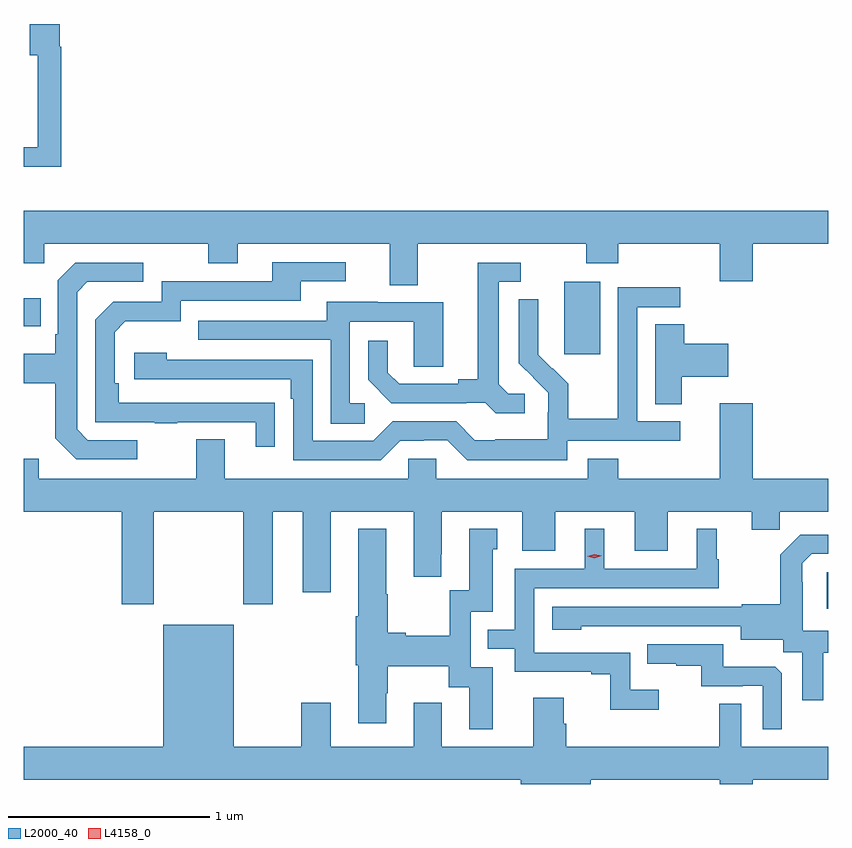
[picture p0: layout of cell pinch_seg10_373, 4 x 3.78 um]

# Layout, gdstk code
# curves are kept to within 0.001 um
import gdstk
lib = gdstk.Library(unit=1e-6, precision=1e-09)
def R(c, l, rs):  # rectangles x0, y0, x1, y1
    for r in rs: c.add(gdstk.rectangle(r[:2], r[2:], *l))
def P(c, l, *ps):  # polygons
    for p in ps: c.add(gdstk.Polygon(p, *l))
L2000_40 = (2000, 40)
L4158_0 = (4158, 0)

pinch_seg10_373 = lib.new_cell('pinch_seg10_373')
R(pinch_seg10_373, L2000_40, [(621.083,1273.194,621.092,1273.374), (619.778,1274.457,619.957,1274.818), (617.092,1274.597,617.177,1274.737)])
P(pinch_seg10_373, L2000_40, [(617.279,1275.986),(617.272,1275.986),(617.272,1276.099),(617.123,1276.099),(617.123,1275.943),(617.163,1275.943),(617.163,1275.486),(617.092,1275.486),(617.092,1275.389),(617.279,1275.389)],
  [(619.051,1275.008),(619.888,1275.008),(619.888,1274.909),(620.048,1274.909),(620.048,1275.008),(620.552,1275.008),(620.552,1274.82),(620.716,1274.82),(620.716,1275.008),(621.092,1275.008),(621.092,1275.172),(617.092,1275.172),(617.092,1274.909),(617.196,1274.909),(617.196,1275.008),(618.01,1275.008),(618.01,1274.909),(618.157,1274.909),(618.157,1275.008),(618.911,1275.008),(618.911,1274.8),(619.051,1274.8)],
  [(618.341,1274.216),(617.564,1274.217),(617.564,1274.314),(617.544,1274.314),(617.544,1274.568),(617.597,1274.621),(617.874,1274.621),(617.874,1274.724),(618.469,1274.724),(618.469,1274.82),(618.694,1274.82),(618.694,1274.916),(618.329,1274.916),(618.329,1274.82),(617.778,1274.82),(617.778,1274.718),(617.538,1274.718),(617.448,1274.628),(617.448,1274.121),(617.743,1274.121),(617.743,1274.116),(617.855,1274.116),(617.855,1274.121),(618.245,1274.121),(618.245,1273.998),(618.341,1273.998)],
  [(619.582,1274.262),(619.5,1274.262),(619.453,1274.309),(619.453,1274.817),(619.564,1274.817),(619.564,1274.913),(619.349,1274.913),(619.349,1274.333),(619.253,1274.333),(619.253,1274.31),(618.958,1274.31),(618.901,1274.367),(618.901,1274.524),(618.804,1274.524),(618.804,1274.33),(618.92,1274.214),(619.292,1274.214),(619.292,1274.217),(619.386,1274.217),(619.438,1274.165),(619.582,1274.165)],
  [(617.656,1274.031),(617.412,1274.031),(617.358,1274.085),(617.358,1274.766),(617.409,1274.817),(617.686,1274.817),(617.686,1274.913),(617.349,1274.913),(617.262,1274.826),(617.262,1274.557),(617.25,1274.557),(617.25,1274.461),(617.092,1274.461),(617.092,1274.314),(617.25,1274.314),(617.25,1274.041),(617.355,1273.935),(617.656,1273.935)],
  [(619.794,1274.028),(620.356,1274.028),(620.356,1274.124),(620.142,1274.124),(620.142,1274.691),(620.356,1274.691),(620.356,1274.79),(620.046,1274.79),(620.046,1274.36),(620.044,1274.36),(620.044,1274.137),(619.799,1274.137),(619.799,1274.311),(619.722,1274.388),(619.719,1274.385),(619.649,1274.456),(619.65,1274.732),(619.554,1274.732),(619.554,1274.414),(619.7,1274.266),(619.7,1274.169),(619.698,1274.169),(619.698,1274.035),(619.435,1274.035),(619.435,1274.031),(619.335,1274.031),(619.242,1274.124),(618.927,1274.124),(618.831,1274.028),(618.528,1274.028),(618.528,1274.43),(617.804,1274.43),(617.804,1274.464),(617.643,1274.464),(617.643,1274.334),(618.419,1274.334),(618.419,1274.237),(618.432,1274.237),(618.432,1273.932),(618.867,1273.932),(618.963,1274.028),(619.082,1274.028),(619.082,1274.031),(619.197,1274.031),(619.297,1273.931),(619.794,1273.931)],
  [(618.787,1274.214),(618.714,1274.214),(618.714,1274.619),(619.032,1274.619),(619.032,1274.395),(619.177,1274.395),(619.177,1274.715),(618.853,1274.715),(618.853,1274.719),(618.599,1274.719),(618.599,1274.625),(617.959,1274.625),(617.959,1274.529),(618.618,1274.529),(618.618,1274.113),(618.787,1274.113)],
  [(620.362,1274.345),(620.593,1274.345),(620.593,1274.511),(620.375,1274.511),(620.375,1274.606),(620.231,1274.606),(620.231,1274.209),(620.362,1274.209)],
  [(617.739,1273.676),(618.184,1273.676),(618.184,1273.215),(618.331,1273.215),(618.331,1273.676),(618.479,1273.676),(618.479,1273.275),(618.619,1273.275),(618.619,1273.676),(619.031,1273.676),(619.031,1273.353),(619.168,1273.353),(619.168,1273.465),(619.171,1273.465),(619.171,1273.676),(619.571,1273.676),(619.571,1273.482),(619.735,1273.482),(619.735,1273.676),(620.129,1273.676),(620.129,1273.482),(620.293,1273.482),(620.293,1273.676),(620.711,1273.676),(620.711,1273.586),(620.849,1273.586),(620.849,1273.676),(621.092,1273.676),(621.092,1273.84),(620.716,1273.84),(620.716,1274.215),(620.552,1274.215),(620.552,1273.84),(620.048,1273.84),(620.048,1273.939),(619.895,1273.939),(619.895,1273.84),(619.143,1273.84),(619.143,1273.938),(619.005,1273.938),(619.005,1273.84),(618.091,1273.84),(618.091,1274.035),(617.951,1274.035),(617.951,1273.84),(617.167,1273.84),(617.167,1273.939),(617.092,1273.939),(617.092,1273.676),(617.579,1273.676),(617.579,1273.215),(617.739,1273.215)],
  [(620.248,1272.79),(620.106,1272.79),(620.106,1272.975),(619.629,1272.975),(619.629,1273.296),(620.548,1273.296),(620.548,1273.44),(620.536,1273.44),(620.536,1273.591),(620.438,1273.591),(620.438,1273.392),(619.978,1273.392),(619.978,1273.591),(619.88,1273.591),(619.88,1273.392),(619.533,1273.392),(619.533,1273.089),(619.399,1273.089),(619.399,1272.993),(619.533,1272.993),(619.533,1272.879),(619.913,1272.879),(619.913,1272.867),(620.008,1272.867),(620.008,1272.692),(620.248,1272.692)],
  [(619.423,1272.903),(619.314,1272.903),(619.314,1273.179),(619.423,1273.179),(619.423,1273.488),(619.447,1273.488),(619.447,1273.591),(619.307,1273.591),(619.307,1273.284),(619.211,1273.284),(619.211,1273.06),(618.991,1273.06),(618.991,1273.073),(618.903,1273.073),(618.903,1273.265),(618.895,1273.265),(618.895,1273.591),(618.755,1273.591),(618.755,1273.156),(618.743,1273.156),(618.743,1272.912),(618.755,1272.912),(618.755,1272.624),(618.895,1272.624),(618.895,1272.774),(618.903,1272.774),(618.903,1272.908),(619.206,1272.908),(619.206,1272.802),(619.307,1272.802),(619.307,1272.594),(619.423,1272.594)],
  [(621.067,1272.974),(621.092,1272.974),(621.092,1273.084),(620.964,1273.084),(620.964,1273.325),(620.962,1273.325),(620.962,1273.42),(621.009,1273.467),(621.092,1273.467),(621.092,1273.561),(620.953,1273.561),(620.853,1273.461),(620.853,1273.216),(620.661,1273.216),(620.661,1273.203),(619.719,1273.203),(619.719,1273.088),(619.863,1273.088),(619.863,1273.106),(620.657,1273.107),(620.657,1273.04),(620.868,1273.04),(620.868,1272.976),(620.963,1272.976),(620.963,1272.738),(621.067,1272.738)],
  [(619.912,1272.344),(620.552,1272.344),(620.552,1272.322),(620.716,1272.322),(620.716,1272.344),(621.092,1272.344),(621.092,1272.508),(620.658,1272.508),(620.658,1272.722),(620.55,1272.722),(620.55,1272.508),(619.79,1272.508),(619.79,1272.621),(619.777,1272.621),(619.777,1272.751),(619.625,1272.751),(619.625,1272.508),(619.171,1272.508),(619.171,1272.727),(619.031,1272.727),(619.031,1272.508),(618.619,1272.508),(618.619,1272.727),(618.472,1272.727),(618.472,1272.508),(618.136,1272.508),(618.136,1273.114),(617.786,1273.114),(617.786,1272.508),(617.092,1272.508),(617.092,1272.344),(619.562,1272.344),(619.562,1272.322),(619.912,1272.322)],
  [(620.859,1272.873),(620.827,1272.905),(620.569,1272.905),(620.569,1273.017),(620.191,1273.017),(620.191,1272.92),(620.335,1272.92),(620.335,1272.909),(620.459,1272.909),(620.459,1272.807),(620.666,1272.807),(620.666,1272.81),(620.766,1272.81),(620.766,1272.593),(620.859,1272.593)])
P(pinch_seg10_373, L4158_0, [(619.929,1273.445),(619.893,1273.454),(619.893,1273.454),(619.893,1273.454),(619.929,1273.465),(619.965,1273.456),(619.965,1273.456),(619.965,1273.456)])

lib.write_gds('pinch_seg10_373.gds')
